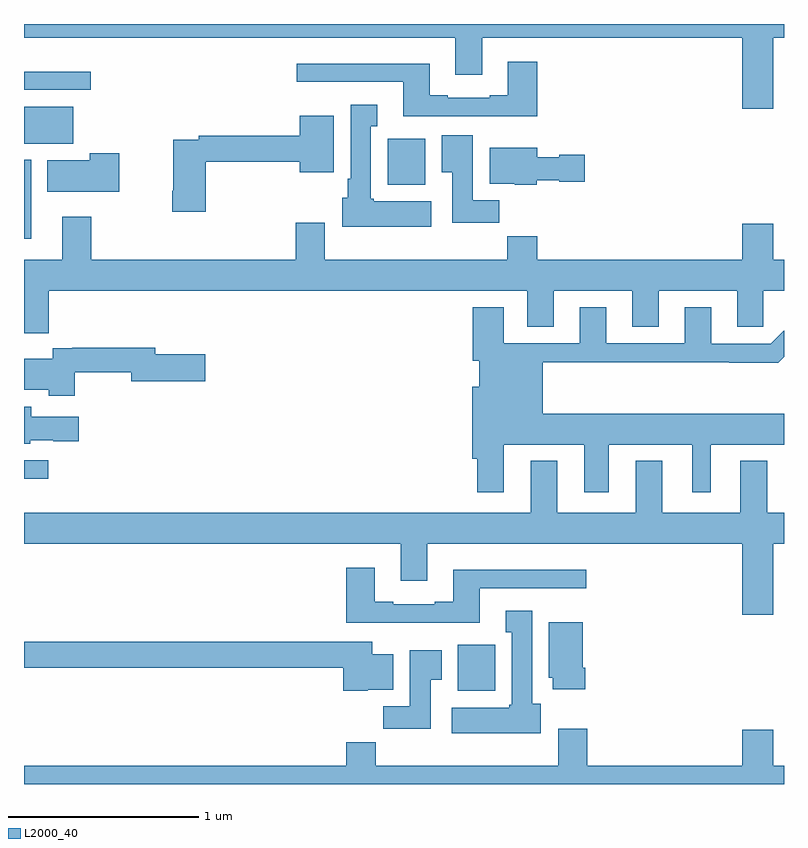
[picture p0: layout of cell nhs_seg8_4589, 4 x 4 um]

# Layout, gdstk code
import gdstk
lib = gdstk.Library(unit=1e-6, precision=1e-09)
def R(c, l, rs):  # rectangles x0, y0, x1, y1
    for r in rs: c.add(gdstk.rectangle(r[:2], r[2:], *l))
def P(c, l, *ps):  # polygons
    for p in ps: c.add(gdstk.Polygon(p, *l))
L2000_40 = (2000, 40)

nhs_seg8_4589 = lib.new_cell('nhs_seg8_4589')
R(nhs_seg8_4589, L2000_40, [(391.283,1118.39,391.48,1118.632), (389,1119.506,389.128,1119.603), (389,1120.77,389.038,1121.185), (390.914,1121.054,391.111,1121.296), (389,1121.553,389.35,1121.65)])
P(nhs_seg8_4589, L2000_40, [(392.944,1121.828),(393,1121.828),(393,1121.9),(389,1121.9),(389,1121.828),(391.271,1121.828),(391.271,1121.634),(391.411,1121.634),(391.411,1121.828),(392.78,1121.828),(392.78,1121.454),(392.944,1121.454)],
  [(391.7,1121.701),(391.547,1121.701),(391.547,1121.524),(391.451,1121.524),(391.451,1121.511),(391.231,1121.511),(391.231,1121.524),(391.135,1121.524),(391.135,1121.692),(390.435,1121.692),(390.435,1121.595),(390.995,1121.595),(390.995,1121.415),(391.459,1121.415),(391.459,1121.414),(391.7,1121.414)],
  [(391.144,1120.966),(390.84,1120.966),(390.84,1120.98),(390.826,1120.98),(390.826,1121.363),(390.859,1121.363),(390.859,1121.476),(390.719,1121.476),(390.719,1121.086),(390.704,1121.086),(390.704,1120.986),(390.674,1120.986),(390.674,1120.832),(391.144,1120.832)],
  [(389.26,1121.464),(389,1121.464),(389,1121.271),(389.034,1121.271),(389.034,1121.27),(389.26,1121.27)],
  [(389.957,1121.176),(390.452,1121.176),(390.452,1121.12),(390.631,1121.12),(390.631,1121.416),(390.452,1121.416),(390.452,1121.312),(389.92,1121.312),(389.92,1121.292),(389.786,1121.292),(389.786,1121.023),(389.779,1121.023),(389.779,1120.911),(389.957,1120.911)],
  [(391.502,1120.972),(391.363,1120.972),(391.363,1121.314),(391.199,1121.314),(391.199,1121.12),(391.253,1121.12),(391.253,1120.854),(391.502,1120.854)],
  [(391.698,1121.078),(391.818,1121.078),(391.818,1121.071),(391.951,1121.071),(391.951,1121.213),(391.818,1121.213),(391.818,1121.2),(391.702,1121.2),(391.702,1121.248),(391.451,1121.248),(391.451,1121.06),(391.584,1121.06),(391.584,1121.054),(391.698,1121.054)],
  [(389.5,1121.22),(389.346,1121.22),(389.346,1121.182),(389.123,1121.182),(389.123,1121.018),(389.5,1121.018)],
  [(389.131,1120.496),(391.649,1120.496),(391.649,1120.306),(391.789,1120.306),(391.789,1120.496),(392.201,1120.496),(392.201,1120.306),(392.341,1120.306),(392.341,1120.496),(392.753,1120.496),(392.753,1120.306),(392.892,1120.306),(392.892,1120.496),(393,1120.496),(393,1120.66),(392.944,1120.66),(392.944,1120.849),(392.78,1120.849),(392.78,1120.66),(391.7,1120.66),(391.7,1120.784),(391.543,1120.784),(391.543,1120.66),(390.583,1120.66),(390.583,1120.855),(390.431,1120.855),(390.431,1120.66),(389.354,1120.66),(389.354,1120.885),(389.201,1120.885),(389.201,1120.66),(389,1120.66),(389,1120.272),(389.131,1120.272)],
  [(391.525,1119.686),(391.949,1119.686),(391.949,1119.435),(392.077,1119.435),(392.077,1119.686),(392.516,1119.686),(392.516,1119.435),(392.614,1119.435),(392.614,1119.686),(393,1119.686),(393,1119.85),(391.729,1119.85),(391.729,1120.12),(392.713,1120.12),(392.713,1120.118),(392.969,1120.118),(393,1120.149),(393,1120.285),(392.998,1120.285),(392.931,1120.218),(392.617,1120.218),(392.617,1120.408),(392.477,1120.408),(392.477,1120.221),(392.065,1120.221),(392.065,1120.408),(391.925,1120.408),(391.925,1120.221),(391.525,1120.221),(391.525,1120.408),(391.361,1120.408),(391.361,1120.128),(391.397,1120.128),(391.397,1119.991),(391.358,1119.991),(391.358,1119.611),(391.385,1119.611),(391.385,1119.435),(391.525,1119.435)],
  [(389.268,1120.066),(389.564,1120.066),(389.564,1120.019),(389.953,1120.019),(389.953,1120.161),(389.692,1120.161),(389.692,1120.195),(389.254,1120.195),(389.254,1120.193),(389.151,1120.193),(389.151,1120.138),(389,1120.138),(389,1119.974),(389.131,1119.974),(389.131,1119.944),(389.268,1119.944)],
  [(389.034,1119.71),(389.154,1119.71),(389.154,1119.703),(389.287,1119.703),(389.287,1119.832),(389.038,1119.832),(389.038,1119.886),(389,1119.886),(389,1119.692),(389.034,1119.692)],
  [(389,1119.164),(390.983,1119.164),(390.983,1118.97),(391.123,1118.97),(391.123,1119.164),(392.78,1119.164),(392.78,1118.79),(392.944,1118.79),(392.944,1119.164),(393,1119.164),(393,1119.328),(392.911,1119.328),(392.911,1119.601),(392.771,1119.601),(392.771,1119.328),(392.359,1119.328),(392.359,1119.601),(392.219,1119.601),(392.219,1119.328),(391.807,1119.328),(391.807,1119.601),(391.667,1119.601),(391.667,1119.328),(389,1119.328)],
  [(391.399,1118.931),(391.96,1118.931),(391.96,1119.028),(391.259,1119.028),(391.259,1118.86),(391.163,1118.86),(391.163,1118.847),(390.943,1118.847),(390.943,1118.86),(390.847,1118.86),(390.847,1119.037),(390.695,1119.037),(390.695,1118.75),(391.399,1118.75)],
  [(391.72,1118.322),(391.675,1118.322),(391.675,1118.812),(391.535,1118.812),(391.535,1118.699),(391.568,1118.699),(391.568,1118.316),(391.555,1118.316),(391.555,1118.302),(391.251,1118.302),(391.251,1118.168),(391.72,1118.168)],
  [(391.955,1118.512),(391.942,1118.512),(391.942,1118.752),(391.763,1118.752),(391.763,1118.46),(391.784,1118.46),(391.784,1118.4),(391.955,1118.4)],
  [(390.81,1118.396),(390.943,1118.396),(390.943,1118.584),(390.832,1118.584),(390.832,1118.648),(389,1118.648),(389,1118.512),(390.68,1118.512),(390.68,1118.39),(390.81,1118.39)],
  [(391.141,1118.449),(391.198,1118.449),(391.198,1118.605),(391.031,1118.605),(391.031,1118.308),(390.892,1118.308),(390.892,1118.19),(391.141,1118.19)],
  [(390.851,1118.12),(390.695,1118.12),(390.695,1117.996),(389,1117.996),(389,1117.9),(393,1117.9),(393,1117.996),(392.944,1117.996),(392.944,1118.185),(392.78,1118.185),(392.78,1117.996),(391.964,1117.996),(391.964,1118.191),(391.811,1118.191),(391.811,1117.996),(390.851,1117.996)])

lib.write_gds('nhs_seg8_4589.gds')
